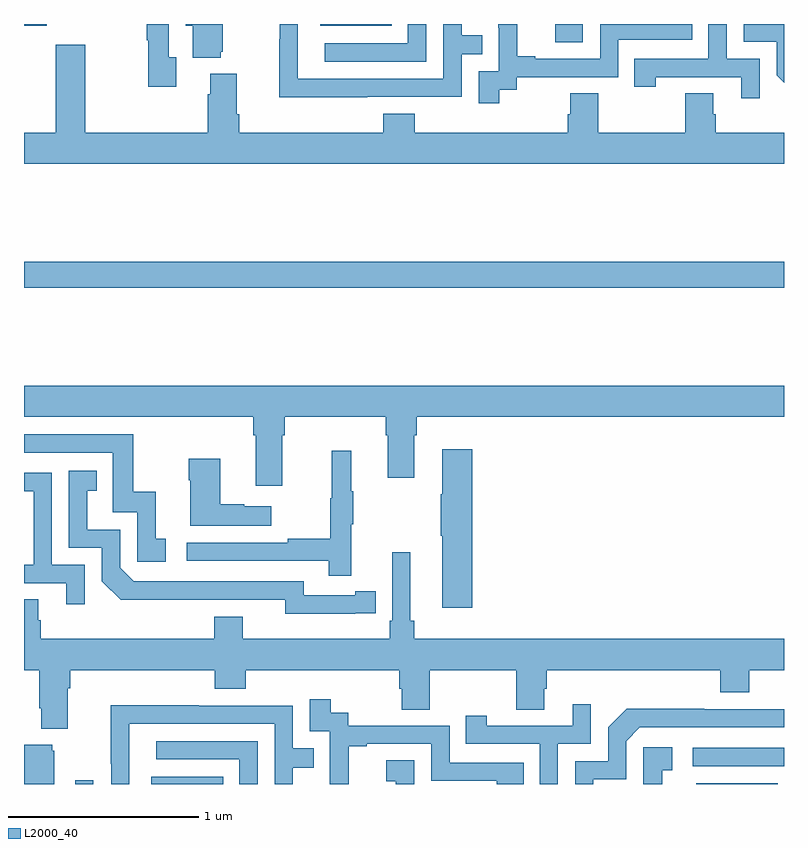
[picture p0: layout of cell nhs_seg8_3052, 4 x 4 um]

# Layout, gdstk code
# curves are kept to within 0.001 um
import gdstk
lib = gdstk.Library(unit=1e-6, precision=1e-09)
def R(c, l, rs):  # rectangles x0, y0, x1, y1
    for r in rs: c.add(gdstk.rectangle(r[:2], r[2:], *l))
def P(c, l, *ps):  # polygons
    for p in ps: c.add(gdstk.Polygon(p, *l))
L2000_40 = (2000, 40)

nhs_seg8_3052 = lib.new_cell('nhs_seg8_3052')
R(nhs_seg8_3052, L2000_40, [(301.269,1115.9,301.365,1115.92), (301.67,1115.9,302.048,1115.938), (304.538,1115.9,304.966,1115.905), (304.521,1115.994,305,1116.09), (301,1118.512,305,1118.648), (303.795,1119.804,303.942,1119.9), (301,1119.89,301.12,1119.9), (302.558,1119.89,302.936,1119.9)])
P(nhs_seg8_3052, L2000_40, [(302.807,1119.516),(303.303,1119.516),(303.303,1119.741),(303.413,1119.741),(303.413,1119.842),(303.303,1119.842),(303.303,1119.9),(303.207,1119.9),(303.207,1119.612),(302.442,1119.612),(302.442,1119.9),(302.346,1119.9),(302.346,1119.821),(302.344,1119.821),(302.344,1119.515),(302.807,1119.515)],
  [(303.117,1119.9),(303.021,1119.9),(303.021,1119.798),(302.583,1119.798),(302.583,1119.702),(303.117,1119.702)],
  [(302.036,1119.753),(302.047,1119.753),(302.047,1119.9),(301.85,1119.9),(301.85,1119.89),(301.889,1119.89),(301.889,1119.722),(302.036,1119.722)],
  [(305,1119.9),(304.788,1119.9),(304.788,1119.807),(304.962,1119.807),(304.962,1119.63),(305,1119.592)],
  [(301.801,1119.726),(301.761,1119.726),(301.761,1119.9),(301.645,1119.9),(301.645,1119.814),(301.653,1119.814),(301.653,1119.57),(301.801,1119.57)],
  [(303.502,1119.553),(303.594,1119.553),(303.594,1119.621),(304.128,1119.621),(304.128,1119.816),(304.517,1119.816),(304.517,1119.9),(304.032,1119.9),(304.032,1119.717),(303.691,1119.717),(303.691,1119.73),(303.596,1119.73),(303.596,1119.9),(303.497,1119.9),(303.497,1119.881),(303.498,1119.881),(303.498,1119.651),(303.393,1119.651),(303.393,1119.483),(303.502,1119.483)],
  [(304.872,1119.717),(304.698,1119.717),(304.698,1119.9),(304.602,1119.9),(304.602,1119.717),(304.213,1119.717),(304.213,1119.57),(304.324,1119.57),(304.324,1119.621),(304.775,1119.621),(304.775,1119.51),(304.872,1119.51)],
  [(305,1119.328),(304.64,1119.328),(304.64,1119.426),(304.627,1119.426),(304.627,1119.536),(304.48,1119.536),(304.48,1119.328),(304.023,1119.328),(304.023,1119.536),(303.875,1119.536),(303.875,1119.426),(303.863,1119.426),(303.863,1119.328),(303.056,1119.328),(303.056,1119.427),(302.891,1119.427),(302.891,1119.328),(302.132,1119.328),(302.132,1119.424),(302.119,1119.424),(302.119,1119.637),(301.979,1119.637),(301.979,1119.53),(301.967,1119.53),(301.967,1119.328),(301.323,1119.328),(301.323,1119.79),(301.168,1119.79),(301.168,1119.328),(301,1119.328),(301,1119.164),(305,1119.164)],
  [(302.359,1117.736),(302.372,1117.736),(302.372,1117.832),(302.903,1117.832),(302.903,1117.736),(302.915,1117.736),(302.915,1117.512),(303.055,1117.512),(303.055,1117.736),(303.068,1117.736),(303.068,1117.832),(305,1117.832),(305,1117.996),(301,1117.996),(301,1117.832),(302.207,1117.832),(302.207,1117.736),(302.219,1117.736),(302.219,1117.47),(302.359,1117.47)],
  [(301.747,1117.191),(301.694,1117.191),(301.694,1117.438),(301.576,1117.438),(301.576,1117.74),(301,1117.74),(301,1117.644),(301.467,1117.644),(301.467,1117.329),(301.596,1117.329),(301.596,1117.071),(301.747,1117.071)],
  [(303.359,1117.663),(303.2,1117.663),(303.2,1117.424),(303.193,1117.424),(303.193,1117.207),(303.2,1117.207),(303.2,1116.828),(303.359,1116.828)],
  [(302.723,1117.267),(302.734,1117.267),(302.734,1117.441),(302.723,1117.441),(302.723,1117.654),(302.62,1117.654),(302.62,1117.404),(302.613,1117.404),(302.613,1117.19),(302.389,1117.19),(302.389,1117.17),(301.857,1117.17),(301.857,1117.074),(302.605,1117.074),(302.605,1116.996),(302.723,1116.996)],
  [(302.302,1117.363),(302.159,1117.363),(302.159,1117.373),(302.032,1117.373),(302.032,1117.612),(301.867,1117.612),(301.867,1117.499),(301.874,1117.499),(301.874,1117.259),(302.302,1117.259)],
  [(302.744,1116.798),(302.852,1116.798),(302.852,1116.914),(302.744,1116.914),(302.744,1116.894),(302.472,1116.894),(302.472,1116.966),(301.578,1116.966),(301.506,1117.038),(301.506,1117.239),(301.333,1117.239),(301.333,1117.443),(301.382,1117.443),(301.382,1117.549),(301.236,1117.549),(301.236,1117.143),(301.41,1117.143),(301.41,1116.966),(301.508,1116.869),(302.376,1116.87),(302.376,1116.797)],
  [(301.32,1117.053),(301.146,1117.053),(301.146,1117.539),(301,1117.539),(301,1117.442),(301.05,1117.442),(301.05,1117.053),(301,1117.053),(301,1116.957),(301.223,1116.957),(301.223,1116.846),(301.32,1116.846)],
  [(301.231,1116.404),(301.244,1116.404),(301.244,1116.5),(302.003,1116.5),(302.003,1116.401),(302.168,1116.401),(302.168,1116.5),(302.975,1116.5),(302.975,1116.402),(302.987,1116.402),(302.987,1116.292),(303.135,1116.292),(303.135,1116.5),(303.592,1116.5),(303.592,1116.292),(303.739,1116.292),(303.739,1116.402),(303.752,1116.402),(303.752,1116.5),(304.664,1116.5),(304.664,1116.383),(304.816,1116.383),(304.816,1116.5),(305,1116.5),(305,1116.664),(303.053,1116.664),(303.053,1116.76),(303.034,1116.76),(303.034,1117.12),(302.937,1117.12),(302.937,1116.76),(302.924,1116.76),(302.924,1116.664),(302.152,1116.664),(302.152,1116.781),(302,1116.781),(302,1116.664),(301.088,1116.664),(301.088,1116.762),(301.075,1116.762),(301.075,1116.872),(301,1116.872),(301,1116.5),(301.079,1116.5),(301.079,1116.298),(301.091,1116.298),(301.091,1116.191),(301.231,1116.191)],
  [(302.708,1116.099),(302.803,1116.099),(302.803,1116.111),(303.144,1116.111),(303.144,1115.916),(303.489,1115.916),(303.489,1115.9),(303.629,1115.9),(303.629,1116.012),(303.24,1116.012),(303.24,1116.207),(302.706,1116.207),(302.706,1116.276),(302.614,1116.276),(302.614,1116.346),(302.505,1116.346),(302.505,1116.177),(302.61,1116.177),(302.61,1115.948),(302.609,1115.948),(302.609,1115.9),(302.708,1115.9)],
  [(303.81,1116.111),(303.984,1116.111),(303.984,1116.319),(303.887,1116.319),(303.887,1116.207),(303.436,1116.207),(303.436,1116.259),(303.325,1116.259),(303.325,1116.111),(303.714,1116.111),(303.714,1115.9),(303.81,1115.9)],
  [(301.554,1116.216),(302.319,1116.216),(302.319,1115.9),(302.415,1115.9),(302.415,1115.986),(302.525,1115.986),(302.525,1116.087),(302.415,1116.087),(302.415,1116.312),(301.919,1116.312),(301.919,1116.314),(301.456,1116.314),(301.456,1116.007),(301.458,1116.007),(301.458,1115.9),(301.554,1115.9)],
  [(303.997,1115.925),(304.17,1115.925),(304.17,1116.126),(304.242,1116.198),(305,1116.198),(305,1116.294),(304.58,1116.294),(304.58,1116.296),(304.172,1116.296),(304.074,1116.198),(304.074,1116.021),(303.9,1116.021),(303.9,1115.9),(303.997,1115.9)],
  [(302.229,1116.126),(301.695,1116.126),(301.695,1116.03),(302.133,1116.03),(302.133,1115.9),(302.229,1115.9)],
  [(301.159,1116.075),(301.148,1116.075),(301.148,1116.106),(301.001,1116.106),(301.001,1115.938),(301,1115.938),(301,1115.9),(301.159,1115.9)],
  [(304.358,1115.973),(304.411,1115.973),(304.411,1116.094),(304.26,1116.094),(304.26,1115.9),(304.358,1115.9)],
  [(303.054,1116.025),(302.907,1116.025),(302.907,1115.915),(302.956,1115.915),(302.956,1115.9),(303.054,1115.9)])

lib.write_gds('nhs_seg8_3052.gds')
